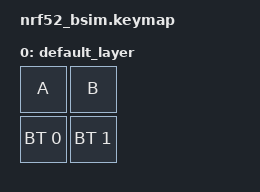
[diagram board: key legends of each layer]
#include <behaviors.dtsi>
#include <dt-bindings/zmk/bt.h>
#include <dt-bindings/zmk/keys.h>
#include <dt-bindings/zmk/kscan_mock.h>

/* Second power-up, on the flash written by the old firmware: only key presses, no slot changes.
 * The keyboard must finish starting (it froze here on real hardware) and the slot whose bond was
 * made under the old shared address must take a new computer. */
&kscan {
    events =
    <ZMK_MOCK_PRESS(0,0,6000)
    ZMK_MOCK_RELEASE(0,0,200)
    ZMK_MOCK_PRESS(0,1,1000)
    ZMK_MOCK_RELEASE(0,1,1000)>;
};

/ {
    keymap {
        compatible = "zmk,keymap";

        default_layer {
            bindings = <
            &kp A &kp B
            &bt BT_SEL 0 &bt BT_SEL 1>;
        };
    };
};
